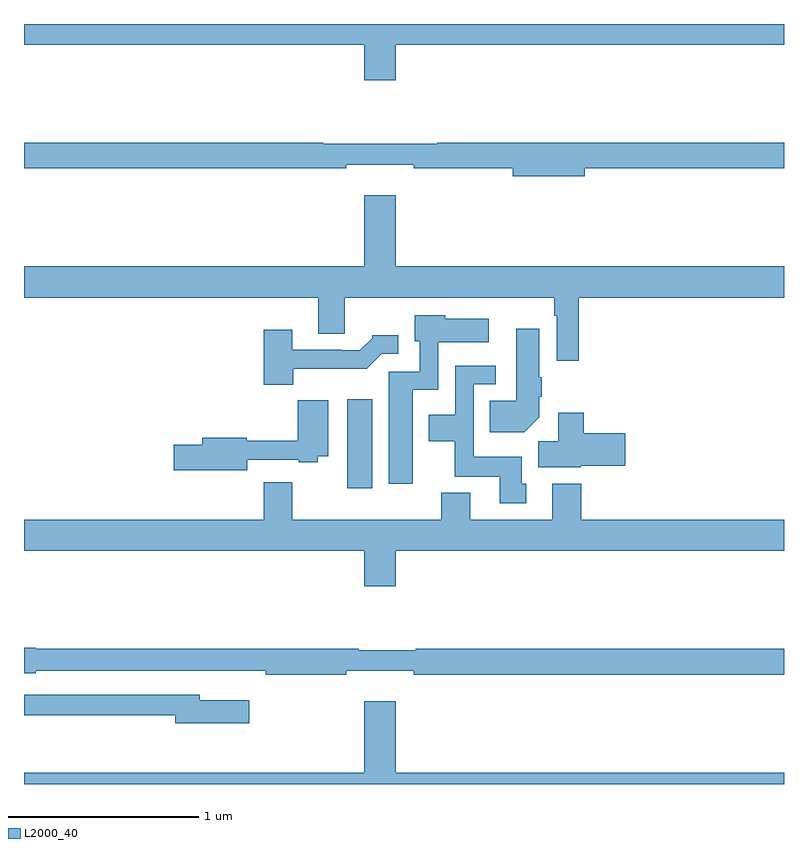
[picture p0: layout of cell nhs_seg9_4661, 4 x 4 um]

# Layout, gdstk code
import gdstk
lib = gdstk.Library(unit=1e-6, precision=1e-09)
def R(c, l, rs):  # rectangles x0, y0, x1, y1
    for r in rs: c.add(gdstk.rectangle(r[:2], r[2:], *l))
def P(c, l, *ps):  # polygons
    for p in ps: c.add(gdstk.Polygon(p, *l))
L2000_40 = (2000, 40)

nhs_seg9_4661 = lib.new_cell('nhs_seg9_4661')
R(nhs_seg9_4661, L2000_40, [(380.702,1222.056,380.833,1222.525)])
P(nhs_seg9_4661, L2000_40, [(380.956,1224.392),(383,1224.392),(383,1224.5),(379,1224.5),(379,1224.392),(380.792,1224.392),(380.792,1224.204),(380.956,1224.204)],
  [(381.952,1223.74),(383,1223.74),(383,1223.876),(381.176,1223.876),(381.176,1223.869),(380.576,1223.869),(380.576,1223.876),(379,1223.876),(379,1223.74),(380.696,1223.74),(380.696,1223.759),(381.052,1223.759),(381.052,1223.74),(381.572,1223.74),(381.572,1223.698),(381.952,1223.698)],
  [(381.92,1223.06),(383,1223.06),(383,1223.224),(380.956,1223.224),(380.956,1223.599),(380.792,1223.599),(380.792,1223.224),(379,1223.224),(379,1223.06),(380.549,1223.06),(380.549,1222.87),(380.689,1222.87),(380.689,1223.06),(381.792,1223.06),(381.792,1222.964),(381.804,1222.964),(381.804,1222.728),(381.92,1222.728)],
  [(381.046,1222.574),(381.18,1222.574),(381.18,1222.826),(381.445,1222.826),(381.445,1222.948),(381.216,1222.948),(381.216,1222.966),(381.056,1222.966),(381.056,1222.83),(381.084,1222.83),(381.084,1222.671),(380.921,1222.671),(380.921,1222.08),(381.046,1222.08)],
  [(381.712,1222.43),(381.712,1222.537),(381.725,1222.537),(381.725,1222.64),(381.712,1222.64),(381.712,1222.897),(381.59,1222.897),(381.59,1222.516),(381.451,1222.516),(381.451,1222.352),(381.634,1222.352)],
  [(380.416,1222.686),(380.805,1222.686),(380.883,1222.764),(380.971,1222.764),(380.971,1222.861),(380.832,1222.861),(380.832,1222.846),(380.768,1222.782),(380.669,1222.782),(380.669,1222.785),(380.413,1222.785),(380.413,1222.891),(380.261,1222.891),(380.261,1222.601),(380.416,1222.601)],
  [(381.643,1222.08),(381.619,1222.08),(381.619,1222.222),(381.366,1222.222),(381.366,1222.605),(381.484,1222.605),(381.484,1222.701),(381.27,1222.701),(381.27,1222.444),(381.131,1222.444),(381.131,1222.304),(381.268,1222.304),(381.268,1222.118),(381.503,1222.118),(381.503,1221.978),(381.643,1221.978)],
  [(380.176,1222.206),(380.447,1222.206),(380.447,1222.194),(380.547,1222.194),(380.547,1222.226),(380.602,1222.226),(380.602,1222.519),(380.44,1222.519),(380.44,1222.307),(380.172,1222.307),(380.172,1222.322),(379.937,1222.322),(379.937,1222.286),(379.788,1222.286),(379.788,1222.151),(380.176,1222.151)],
  [(381.93,1222.175),(382.165,1222.175),(382.165,1222.346),(381.947,1222.346),(381.947,1222.453),(381.812,1222.453),(381.812,1222.304),(381.707,1222.304),(381.707,1222.166),(381.93,1222.166)],
  [(380.956,1221.728),(383,1221.728),(383,1221.892),(381.932,1221.892),(381.932,1222.081),(381.779,1222.081),(381.779,1221.892),(381.349,1221.892),(381.349,1222.033),(381.197,1222.033),(381.197,1221.892),(380.413,1221.892),(380.413,1222.087),(380.261,1222.087),(380.261,1221.892),(379,1221.892),(379,1221.728),(380.792,1221.728),(380.792,1221.54),(380.956,1221.54)],
  [(380.696,1221.095),(381.052,1221.095),(381.052,1221.076),(383,1221.076),(383,1221.212),(381.062,1221.212),(381.062,1221.205),(380.762,1221.205),(380.762,1221.212),(379.062,1221.212),(379.062,1221.218),(379,1221.218),(379,1221.083),(379.062,1221.083),(379.062,1221.096),(380.02,1221.096),(380.02,1221.095),(380.272,1221.095),(380.272,1221.076),(380.696,1221.076)],
  [(380.185,1220.941),(379.924,1220.941),(379.924,1220.97),(379,1220.97),(379,1220.862),(379.796,1220.862),(379.796,1220.819),(380.185,1220.819)],
  [(383,1220.56),(380.956,1220.56),(380.956,1220.935),(380.792,1220.935),(380.792,1220.56),(379,1220.56),(379,1220.5),(383,1220.5)])

lib.write_gds('nhs_seg9_4661.gds')
